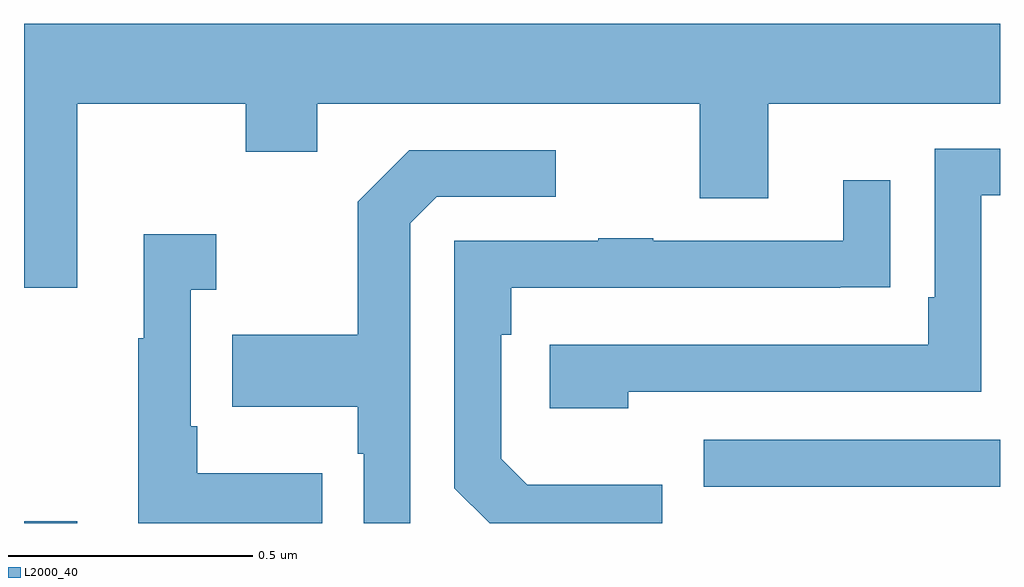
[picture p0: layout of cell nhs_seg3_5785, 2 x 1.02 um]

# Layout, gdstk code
import gdstk
lib = gdstk.Library(unit=1e-6, precision=1e-09)
def R(c, l, rs):  # rectangles x0, y0, x1, y1
    for r in rs: c.add(gdstk.rectangle(r[:2], r[2:], *l))
def P(c, l, *ps):  # polygons
    for p in ps: c.add(gdstk.Polygon(p, *l))
L2000_40 = (2000, 40)

nhs_seg3_5785 = lib.new_cell('nhs_seg3_5785')
R(nhs_seg3_5785, L2000_40, [(183,689.4,183.109,689.404), (184.393,689.475,185,689.571)])
P(nhs_seg3_5785, L2000_40, [(183.109,690.26),(183.454,690.26),(183.454,690.161),(183.601,690.161),(183.601,690.26),(184.385,690.26),(184.385,690.066),(184.525,690.066),(184.525,690.26),(185,690.26),(185,690.424),(183,690.424),(183,689.883),(183.109,689.883)],
  [(184.238,689.67),(184.962,689.67),(184.962,690.072),(185,690.072),(185,690.168),(184.866,690.168),(184.866,689.863),(184.853,689.863),(184.853,689.766),(184.077,689.766),(184.077,689.636),(184.238,689.636)],
  [(183.792,690.015),(183.846,690.069),(184.09,690.069),(184.09,690.165),(183.789,690.165),(183.684,690.059),(183.684,689.787),(183.427,689.787),(183.427,689.639),(183.684,689.639),(183.684,689.543),(183.696,689.543),(183.696,689.4),(183.792,689.4)],
  [(184.308,689.479),(184.031,689.479),(183.978,689.532),(183.978,689.786),(183.998,689.786),(183.998,689.883),(184.673,689.883),(184.673,689.884),(184.775,689.884),(184.775,690.103),(184.679,690.103),(184.679,689.979),(184.289,689.979),(184.289,689.984),(184.177,689.984),(184.177,689.979),(183.882,689.979),(183.882,689.472),(183.954,689.4),(184.308,689.4)],
  [(183.611,689.503),(183.355,689.503),(183.355,689.599),(183.342,689.599),(183.342,689.879),(183.394,689.879),(183.394,689.992),(183.245,689.992),(183.245,689.779),(183.234,689.779),(183.234,689.4),(183.611,689.4)])

lib.write_gds('nhs_seg3_5785.gds')
